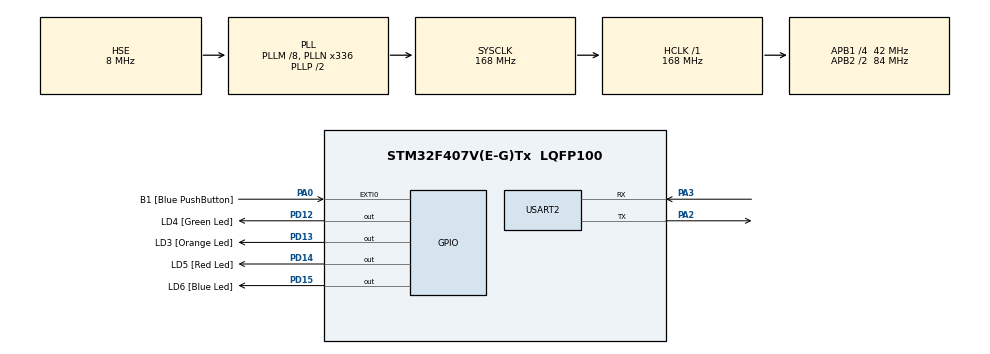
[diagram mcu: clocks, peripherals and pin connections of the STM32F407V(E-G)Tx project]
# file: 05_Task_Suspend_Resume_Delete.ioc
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FREERTOS.Tasks01=defaultTask,24,128,StartDefaultTask,Default,NULL,Dynamic,NULL,NULL
FREERTOS.configCHECK_FOR_STACK_OVERFLOW=2
FREERTOS.configTOTAL_HEAP_SIZE=32768
FREERTOS.configUSE_IDLE_HOOK=0
FREERTOS.configUSE_MALLOC_FAILED_HOOK=1
FREERTOS.configUSE_TICK_HOOK=0
FREERTOS.configUSE_TRACE_FACILITY=1
Mcu.Family=STM32F4
Mcu.Name=STM32F407V(E-G)Tx
Mcu.Package=LQFP100
NVIC.PriorityGroup=NVIC_PRIORITYGROUP_4
NVIC.TIM6_DAC_IRQn=true\:15\:0\:false\:false\:true\:false\:false\:true\:true
NVIC.TimeBase=TIM6_DAC_IRQn
NVIC.TimeBaseIP=TIM6
PA0-WKUP.GPIO_Label=B1 [Blue PushButton]
PA0-WKUP.GPIO_ModeDefaultEXTI=GPIO_MODE_EVT_RISING
PA0-WKUP.GPIO_PuPd=GPIO_NOPULL
PA0-WKUP.Signal=GPXTI0
PA13.GPIO_Label=SWDIO
PA13.Mode=Serial_Wire
PA13.Signal=SYS_JTMS-SWDIO
PA14.GPIO_Label=SWCLK
PA14.Mode=Serial_Wire
PA14.Signal=SYS_JTCK-SWCLK
PA2.Mode=Asynchronous
PA2.Signal=USART2_TX
PA3.Mode=Asynchronous
PA3.Signal=USART2_RX
PB3.GPIO_Label=SWO
PB3.Signal=SYS_JTDO-SWO
PC14-OSC32_IN.GPIO_Label=PC14-OSC32_IN
PC14-OSC32_IN.Mode=LSE-External-Oscillator
PC14-OSC32_IN.Signal=RCC_OSC32_IN
PC15-OSC32_OUT.GPIO_Label=PC15-OSC32_OUT
PC15-OSC32_OUT.Mode=LSE-External-Oscillator
PC15-OSC32_OUT.Signal=RCC_OSC32_OUT
PD12.GPIO_Label=LD4 [Green Led]
PD12.GPIO_PuPd=GPIO_NOPULL
PD12.GPIO_Speed=GPIO_SPEED_FREQ_LOW
PD12.Signal=GPIO_Output
PD13.GPIO_Label=LD3 [Orange Led]
PD13.GPIO_PuPd=GPIO_NOPULL
PD13.GPIO_Speed=GPIO_SPEED_FREQ_LOW
PD13.Signal=GPIO_Output
PD14.GPIO_Label=LD5 [Red Led]
PD14.GPIO_PuPd=GPIO_NOPULL
PD14.GPIO_Speed=GPIO_SPEED_FREQ_LOW
PD14.Signal=GPIO_Output
PD15.GPIO_Label=LD6 [Blue Led]
PD15.GPIO_PuPd=GPIO_NOPULL
PD15.GPIO_Speed=GPIO_SPEED_FREQ_LOW
PD15.Signal=GPIO_Output
PH0-OSC_IN.GPIO_Label=PH0-OSC_IN
PH0-OSC_IN.Mode=HSE-External-Oscillator
PH0-OSC_IN.Signal=RCC_OSC_IN
PH1-OSC_OUT.GPIO_Label=PH1-OSC_OUT
PH1-OSC_OUT.Mode=HSE-External-Oscillator
PH1-OSC_OUT.Signal=RCC_OSC_OUT
ProjectManager.HeapSize=0x200
ProjectManager.StackSize=0x400
ProjectManager.TargetToolchain=STM32CubeIDE
RCC.48MHZClocksFreq_Value=48000000
RCC.AHBFreq_Value=168000000
RCC.APB1CLKDivider=RCC_HCLK_DIV4
RCC.APB1Freq_Value=42000000
RCC.APB1TimFreq_Value=84000000
RCC.APB2CLKDivider=RCC_HCLK_DIV2
RCC.APB2Freq_Value=84000000
RCC.APB2TimFreq_Value=168000000
RCC.CortexFreq_Value=168000000
RCC.HCLKFreq_Value=168000000
RCC.HSE_VALUE=8000000
RCC.HSI_VALUE=16000000
RCC.PLLM=8
RCC.PLLN=336
RCC.PLLQ=7
RCC.PLLSourceVirtual=RCC_PLLSOURCE_HSE
RCC.SYSCLKFreq_VALUE=168000000
RCC.SYSCLKSource=RCC_SYSCLKSOURCE_PLLCLK
RCC.VCOOutputFreq_Value=336000000
USART2.VirtualMode=VM_ASYNC
VP_FREERTOS_VS_CMSIS_V2.Mode=CMSIS_V2
VP_SYS_VS_tim6.Mode=TIM6
board=STM32F407G-DISC1

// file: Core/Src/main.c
/* USER CODE BEGIN Header */
/**
  ******************************************************************************
  * @file           : main.c
  * @brief          : Main program body
  ******************************************************************************
  * @attention
  *
  * Copyright (c) 2026 STMicroelectronics.
  * All rights reserved.
  *
  * This software is licensed under terms that can be found in the LICENSE file
  * in the root directory of this software component.
  * If no LICENSE file comes with this software, it is provided AS-IS.
  *
  ******************************************************************************
  */
/* USER CODE END Header */
#include "main.h"

/* USER CODE BEGIN Includes */
#include "FreeRTOS.h"
#include "task.h"
/* USER CODE END Includes */

UART_HandleTypeDef huart2;

/* USER CODE BEGIN PV */
TaskHandle_t greenTaskHandle;
TaskHandle_t blueTaskHandle;
TaskHandle_t controlTaskHandle;
/* USER CODE END PV */

void SystemClock_Config(void);
static void MX_GPIO_Init(void);
static void MX_USART2_UART_Init(void);

/* USER CODE BEGIN PFP */
static void GreenLedTask(void *argument);
static void BlueLedTask(void *argument);
static void ControlTask(void *argument);
/* USER CODE END PFP */

int main(void)
{

  /* MCU Configuration--------------------------------------------------------*/

  /* Reset of all peripherals, Initializes the Flash interface and the Systick. */
  HAL_Init();

  /* Configure the system clock */
  SystemClock_Config();

  /* Initialize all configured peripherals */
  MX_GPIO_Init();
  MX_USART2_UART_Init();

  /* Create RTOS tasks */
  xTaskCreate(GreenLedTask, "Green", 128, NULL, 2, &greenTaskHandle);

  xTaskCreate(BlueLedTask, "Blue", 128, NULL, 2, &blueTaskHandle);

  xTaskCreate(ControlTask, "Control", 128, NULL, 3, &controlTaskHandle);

  /* Start FreeRTOS scheduler */
  vTaskStartScheduler();

  /* We should never get here as control is now taken by the scheduler */

  /* Infinite loop */
  while (1)
  {

  }
}

void SystemClock_Config(void)
{
  RCC_OscInitTypeDef RCC_OscInitStruct = {0};
  RCC_ClkInitTypeDef RCC_ClkInitStruct = {0};

  /** Configure the main internal regulator output voltage
  */
  __HAL_RCC_PWR_CLK_ENABLE();
  __HAL_PWR_VOLTAGESCALING_CONFIG(PWR_REGULATOR_VOLTAGE_SCALE1);

  /** Initializes the RCC Oscillators according to the specified parameters
  * in the RCC_OscInitTypeDef structure.
  */
  RCC_OscInitStruct.OscillatorType = RCC_OSCILLATORTYPE_HSE;
  RCC_OscInitStruct.HSEState = RCC_HSE_ON;
  RCC_OscInitStruct.PLL.PLLState = RCC_PLL_ON;
  RCC_OscInitStruct.PLL.PLLSource = RCC_PLLSOURCE_HSE;
  RCC_OscInitStruct.PLL.PLLM = 8;
  RCC_OscInitStruct.PLL.PLLN = 336;
  RCC_OscInitStruct.PLL.PLLP = RCC_PLLP_DIV2;
  RCC_OscInitStruct.PLL.PLLQ = 7;
  if (HAL_RCC_OscConfig(&RCC_OscInitStruct) != HAL_OK)
  {
    Error_Handler();
  }

  /** Initializes the CPU, AHB and APB buses clocks
  */
  RCC_ClkInitStruct.ClockType = RCC_CLOCKTYPE_HCLK|RCC_CLOCKTYPE_SYSCLK
                              |RCC_CLOCKTYPE_PCLK1|RCC_CLOCKTYPE_PCLK2;
  RCC_ClkInitStruct.SYSCLKSource = RCC_SYSCLKSOURCE_PLLCLK;
  RCC_ClkInitStruct.AHBCLKDivider = RCC_SYSCLK_DIV1;
  RCC_ClkInitStruct.APB1CLKDivider = RCC_HCLK_DIV4;
  RCC_ClkInitStruct.APB2CLKDivider = RCC_HCLK_DIV2;

  if (HAL_RCC_ClockConfig(&RCC_ClkInitStruct, FLASH_LATENCY_5) != HAL_OK)
  {
    Error_Handler();
  }
}

static void MX_USART2_UART_Init(void)
{

  huart2.Instance = USART2;
  huart2.Init.BaudRate = 115200;
  huart2.Init.WordLength = UART_WORDLENGTH_8B;
  huart2.Init.StopBits = UART_STOPBITS_1;
  huart2.Init.Parity = UART_PARITY_NONE;
  huart2.Init.Mode = UART_MODE_TX_RX;
  huart2.Init.HwFlowCtl = UART_HWCONTROL_NONE;
  huart2.Init.OverSampling = UART_OVERSAMPLING_16;
  if (HAL_UART_Init(&huart2) != HAL_OK)
  {
    Error_Handler();
  }

}

static void MX_GPIO_Init(void)
{
  GPIO_InitTypeDef GPIO_InitStruct = {0};

  /* GPIO Ports Clock Enable */
  __HAL_RCC_GPIOC_CLK_ENABLE();
  __HAL_RCC_GPIOH_CLK_ENABLE();
  __HAL_RCC_GPIOA_CLK_ENABLE();
  __HAL_RCC_GPIOD_CLK_ENABLE();
  __HAL_RCC_GPIOB_CLK_ENABLE();

  /*Configure GPIO pin Output Level */
  HAL_GPIO_WritePin(GPIOD, LD4_Pin|LD3_Pin|LD5_Pin|LD6_Pin, GPIO_PIN_RESET);

  /*Configure GPIO pin : B1_Pin */
  GPIO_InitStruct.Pin = B1_Pin;
  GPIO_InitStruct.Mode = GPIO_MODE_EVT_RISING;
  GPIO_InitStruct.Pull = GPIO_NOPULL;
  HAL_GPIO_Init(B1_GPIO_Port, &GPIO_InitStruct);

  /*Configure GPIO pins : LD4_Pin LD3_Pin LD5_Pin LD6_Pin */
  GPIO_InitStruct.Pin = LD4_Pin|LD3_Pin|LD5_Pin|LD6_Pin;
  GPIO_InitStruct.Mode = GPIO_MODE_OUTPUT_PP;
  GPIO_InitStruct.Pull = GPIO_NOPULL;
  GPIO_InitStruct.Speed = GPIO_SPEED_FREQ_LOW;
  HAL_GPIO_Init(GPIOD, &GPIO_InitStruct);

}

/* USER CODE BEGIN 4 */
static void GreenLedTask(void *argument)
{
    for (;;)
    {
        HAL_GPIO_TogglePin(GPIOD, LD4_Pin);

        vTaskDelay(pdMS_TO_TICKS(500));
    }
}

static void BlueLedTask(void *argument)
{
    for (;;)
    {
        HAL_GPIO_TogglePin(GPIOD, LD6_Pin);

        vTaskDelay(pdMS_TO_TICKS(500));
    }
}

static void ControlTask(void *argument)
{
    /* Let both tasks run for 5 seconds */
    vTaskDelay(pdMS_TO_TICKS(5000));

    /* Suspend Blue task */
    vTaskSuspend(blueTaskHandle);

    /* Keep Green running while Blue is suspended */
    vTaskDelay(pdMS_TO_TICKS(5000));

    /* Resume Blue task */
    vTaskResume(blueTaskHandle);

    /* Let both run again */
    vTaskDelay(pdMS_TO_TICKS(5000));

    /* Delete Blue task */
    vTaskDelete(blueTaskHandle);

    /* Controller has completed its job */
    vTaskDelete(NULL);
}
/* USER CODE END 4 */

void HAL_TIM_PeriodElapsedCallback(TIM_HandleTypeDef *htim)
{
  if (htim->Instance == TIM6)
  {
    HAL_IncTick();
  }
}

void Error_Handler(void)
{
  __disable_irq();
  while (1)
  {
  }
}
